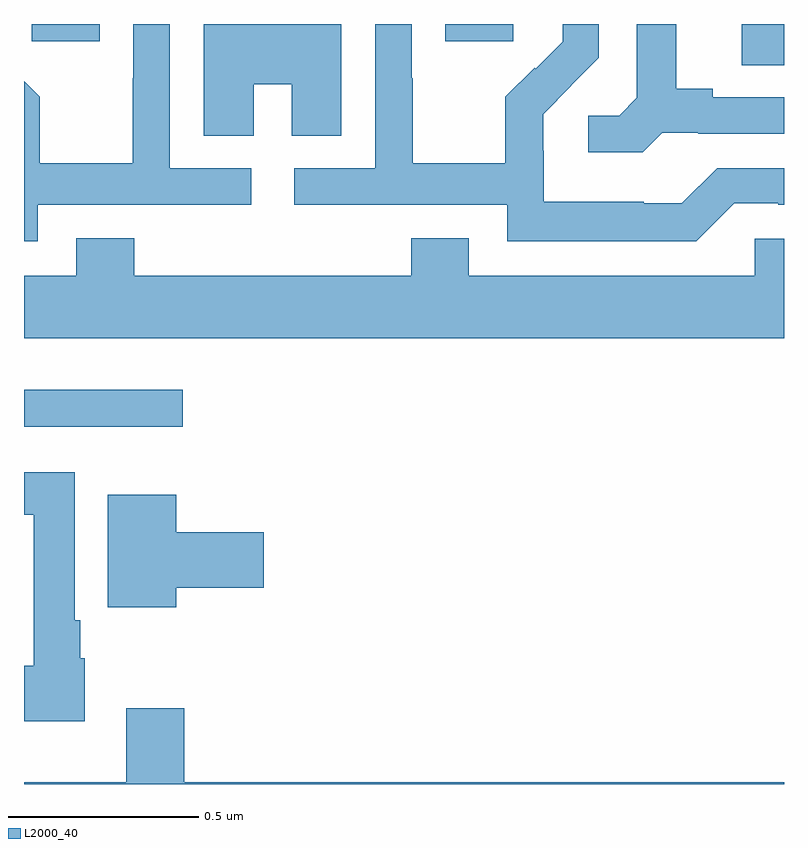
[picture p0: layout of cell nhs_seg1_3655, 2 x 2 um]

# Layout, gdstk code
import gdstk
lib = gdstk.Library(unit=1e-6, precision=1e-09)
def R(c, l, rs):  # rectangles x0, y0, x1, y1
    for r in rs: c.add(gdstk.rectangle(r[:2], r[2:], *l))
def P(c, l, *ps):  # polygons
    for p in ps: c.add(gdstk.Polygon(p, *l))
L2000_40 = (2000, 40)

nhs_seg1_3655 = lib.new_cell('nhs_seg1_3655')
R(nhs_seg1_3655, L2000_40, [(156,578.139,156.418,578.236), (157.889,579.091,158,579.199), (156.02,579.153,156.199,579.199), (157.109,579.153,157.288,579.199)])
P(nhs_seg1_3655, L2000_40, [(157.869,578.727),(157.985,578.727),(157.985,578.724),(158,578.724),(158,578.82),(157.824,578.82),(157.731,578.727),(157.631,578.727),(157.631,578.731),(157.368,578.731),(157.368,578.865),(157.366,578.865),(157.366,578.962),(157.44,579.036),(157.439,579.037),(157.512,579.11),(157.512,579.199),(157.418,579.199),(157.418,579.152),(157.347,579.081),(157.344,579.084),(157.267,579.007),(157.267,578.833),(157.023,578.833),(157.023,579.056),(157.02,579.056),(157.02,579.199),(156.924,579.199),(156.924,578.82),(156.711,578.82),(156.711,578.724),(157.272,578.724),(157.272,578.627),(157.769,578.627)],
  [(157.68,578.913),(157.774,578.913),(157.774,578.91),(158,578.91),(158,579.006),(157.813,579.006),(157.813,579.029),(157.717,579.029),(157.717,579.199),(157.613,579.199),(157.613,579.005),(157.566,578.958),(157.485,578.958),(157.485,578.861),(157.628,578.861)],
  [(156.604,579.041),(156.704,579.041),(156.704,578.905),(156.835,578.905),(156.835,579.199),(156.473,579.199),(156.473,578.905),(156.604,578.905)],
  [(156.036,578.724),(156.598,578.724),(156.598,578.82),(156.384,578.82),(156.384,579.199),(156.288,579.199),(156.288,579.056),(156.286,579.056),(156.286,578.833),(156.041,578.833),(156.041,579.007),(156,579.048),(156,578.627),(156.036,578.627)],
  [(158,578.634),(157.923,578.634),(157.923,578.536),(157.171,578.536),(157.171,578.635),(157.019,578.635),(157.019,578.536),(156.29,578.536),(156.29,578.635),(156.137,578.635),(156.137,578.536),(156,578.536),(156,578.372),(158,578.372)],
  [(156.16,577.53),(156.148,577.53),(156.148,577.63),(156.133,577.63),(156.133,578.02),(156,578.02),(156,577.907),(156.026,577.907),(156.026,577.51),(156,577.51),(156,577.364),(156.16,577.364)],
  [(156.4,577.715),(156.631,577.715),(156.631,577.862),(156.4,577.862),(156.4,577.96),(156.221,577.96),(156.221,577.664),(156.4,577.664)],
  [(158,577.204),(156.422,577.204),(156.422,577.399),(156.269,577.399),(156.269,577.204),(156,577.204),(156,577.199),(158,577.199)])

lib.write_gds('nhs_seg1_3655.gds')
